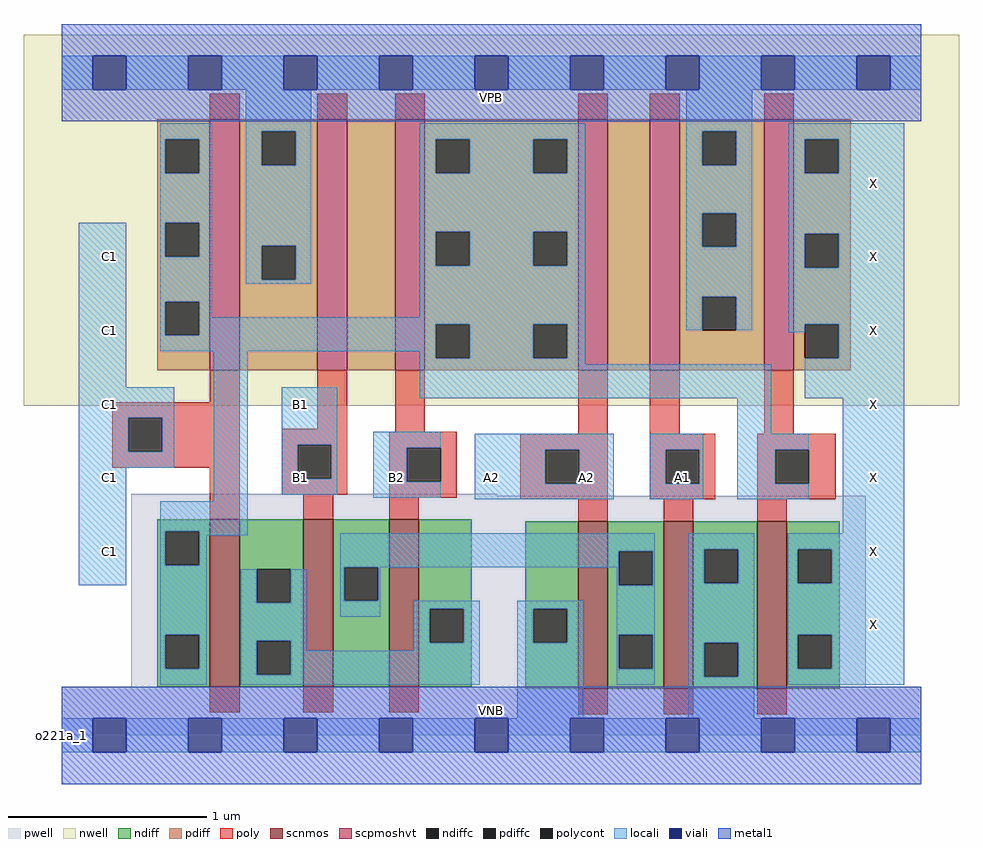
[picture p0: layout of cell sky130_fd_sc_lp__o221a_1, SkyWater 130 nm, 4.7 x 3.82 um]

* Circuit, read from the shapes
.subckt sky130_fd_sc_lp__o221a_1 A1 A2 B1 B2 C1 VGND VNB VPB VPWR X
XM1 n1 C1 n2 VNB sky130_fd_pr__nfet_01v8 w=0.84 l=0.15
XM2 n3 B1 n1 VNB sky130_fd_pr__nfet_01v8 w=0.84 l=0.15
XM3 n1 B2 n3 VNB sky130_fd_pr__nfet_01v8 w=0.84 l=0.15
XM4 n3 A2 VGND VNB sky130_fd_pr__nfet_01v8 w=0.84 l=0.15
XM5 VGND A1 n3 VNB sky130_fd_pr__nfet_01v8 w=0.84 l=0.15
XM6 X n2 VGND VNB sky130_fd_pr__nfet_01v8 w=0.84 l=0.15
XM7 VPWR C1 n2 VPB sky130_fd_pr__pfet_01v8_hvt w=1.26 l=0.15
XM8 n4 B1 VPWR VPB sky130_fd_pr__pfet_01v8_hvt w=1.26 l=0.15
XM9 n2 B2 n4 VPB sky130_fd_pr__pfet_01v8_hvt w=1.26 l=0.15
XM10 n5 A2 n2 VPB sky130_fd_pr__pfet_01v8_hvt w=1.26 l=0.15
XM11 VPWR A1 n5 VPB sky130_fd_pr__pfet_01v8_hvt w=1.26 l=0.15
XM12 X n2 VPWR VPB sky130_fd_pr__pfet_01v8_hvt w=1.26 l=0.15
.ends

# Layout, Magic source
magic
tech sky130A
magscale 1 2
<< nwell >>
rect -38 331 902 704
<< pwell >>
rect 70 241 438 243
rect 70 49 808 241
rect 0 0 864 49
<< scnmos >>
rect 149 49 179 217
rect 243 49 273 217
rect 329 49 359 217
rect 519 47 549 215
rect 605 47 635 215
rect 699 47 729 215
<< scpmoshvt >>
rect 149 367 179 619
rect 257 367 287 619
rect 335 367 365 619
rect 519 367 549 619
rect 591 367 621 619
rect 706 367 736 619
<< ndiff >>
rect 96 205 149 217
rect 96 171 104 205
rect 138 171 149 205
rect 96 101 149 171
rect 96 67 104 101
rect 138 67 149 101
rect 96 49 149 67
rect 179 167 243 217
rect 179 133 196 167
rect 230 133 243 167
rect 179 95 243 133
rect 179 61 196 95
rect 230 61 243 95
rect 179 49 243 61
rect 273 169 329 217
rect 273 135 284 169
rect 318 135 329 169
rect 273 49 329 135
rect 359 127 412 217
rect 359 93 370 127
rect 404 93 412 127
rect 359 49 412 93
rect 466 127 519 215
rect 466 93 474 127
rect 508 93 519 127
rect 466 47 519 93
rect 549 185 605 215
rect 549 151 560 185
rect 594 151 605 185
rect 549 101 605 151
rect 549 67 560 101
rect 594 67 605 101
rect 549 47 605 67
rect 635 187 699 215
rect 635 153 646 187
rect 680 153 699 187
rect 635 93 699 153
rect 635 59 646 93
rect 680 59 699 93
rect 635 47 699 59
rect 729 187 782 215
rect 729 153 740 187
rect 774 153 782 187
rect 729 101 782 153
rect 729 67 740 101
rect 774 67 782 101
rect 729 47 782 67
<< pdiff >>
rect 96 599 149 619
rect 96 565 104 599
rect 138 565 149 599
rect 96 515 149 565
rect 96 481 104 515
rect 138 481 149 515
rect 96 436 149 481
rect 96 402 104 436
rect 138 402 149 436
rect 96 367 149 402
rect 179 607 257 619
rect 179 573 201 607
rect 235 573 257 607
rect 179 492 257 573
rect 179 458 201 492
rect 235 458 257 492
rect 179 367 257 458
rect 287 367 335 619
rect 365 599 519 619
rect 365 565 376 599
rect 410 565 474 599
rect 508 565 519 599
rect 365 506 519 565
rect 365 472 376 506
rect 410 472 474 506
rect 508 472 519 506
rect 365 413 519 472
rect 365 379 376 413
rect 410 379 474 413
rect 508 379 519 413
rect 365 367 519 379
rect 549 367 591 619
rect 621 607 706 619
rect 621 573 644 607
rect 678 573 706 607
rect 621 525 706 573
rect 621 491 644 525
rect 678 491 706 525
rect 621 441 706 491
rect 621 407 644 441
rect 678 407 706 441
rect 621 367 706 407
rect 736 599 793 619
rect 736 565 747 599
rect 781 565 793 599
rect 736 504 793 565
rect 736 470 747 504
rect 781 470 793 504
rect 736 413 793 470
rect 736 379 747 413
rect 781 379 793 413
rect 736 367 793 379
<< ndiffc >>
rect 104 171 138 205
rect 104 67 138 101
rect 196 133 230 167
rect 196 61 230 95
rect 284 135 318 169
rect 370 93 404 127
rect 474 93 508 127
rect 560 151 594 185
rect 560 67 594 101
rect 646 153 680 187
rect 646 59 680 93
rect 740 153 774 187
rect 740 67 774 101
<< pdiffc >>
rect 104 565 138 599
rect 104 481 138 515
rect 104 402 138 436
rect 201 573 235 607
rect 201 458 235 492
rect 376 565 410 599
rect 474 565 508 599
rect 376 472 410 506
rect 474 472 508 506
rect 376 379 410 413
rect 474 379 508 413
rect 644 573 678 607
rect 644 491 678 525
rect 644 407 678 441
rect 747 565 781 599
rect 747 470 781 504
rect 747 379 781 413
<< poly >>
rect 149 619 179 645
rect 257 619 287 645
rect 335 619 365 645
rect 519 619 549 645
rect 591 619 621 645
rect 706 619 736 645
rect 149 335 179 367
rect 51 319 179 335
rect 51 285 67 319
rect 101 285 179 319
rect 257 308 287 367
rect 51 269 179 285
rect 149 217 179 269
rect 221 292 287 308
rect 335 305 365 367
rect 221 258 237 292
rect 271 258 287 292
rect 221 242 287 258
rect 329 289 397 305
rect 519 303 549 367
rect 329 255 347 289
rect 381 255 397 289
rect 243 217 273 242
rect 329 239 397 255
rect 461 287 549 303
rect 461 253 486 287
rect 520 253 549 287
rect 329 217 359 239
rect 461 237 549 253
rect 591 303 621 367
rect 706 303 736 367
rect 591 287 657 303
rect 591 253 607 287
rect 641 253 657 287
rect 591 237 657 253
rect 699 287 778 303
rect 699 253 717 287
rect 751 253 778 287
rect 699 237 778 253
rect 519 215 549 237
rect 605 215 635 237
rect 699 215 729 237
rect 149 23 179 49
rect 243 23 273 49
rect 329 23 359 49
rect 519 21 549 47
rect 605 21 635 47
rect 699 21 729 47
<< polycont >>
rect 67 285 101 319
rect 237 258 271 292
rect 347 255 381 289
rect 486 253 520 287
rect 607 253 641 287
rect 717 253 751 287
<< locali >>
rect 0 649 31 683
rect 65 649 127 683
rect 161 649 223 683
rect 257 649 319 683
rect 353 649 415 683
rect 449 649 511 683
rect 545 649 607 683
rect 641 649 703 683
rect 737 649 799 683
rect 833 649 864 683
rect 99 599 151 615
rect 99 565 104 599
rect 138 565 151 599
rect 99 515 151 565
rect 17 350 65 515
rect 99 481 104 515
rect 138 481 151 515
rect 99 436 151 481
rect 185 607 251 649
rect 185 573 201 607
rect 235 573 251 607
rect 185 492 251 573
rect 185 458 201 492
rect 235 458 251 492
rect 185 454 251 458
rect 360 599 526 615
rect 360 565 376 599
rect 410 565 474 599
rect 508 565 526 599
rect 360 506 526 565
rect 360 472 376 506
rect 410 472 474 506
rect 508 472 526 506
rect 99 402 104 436
rect 138 420 151 436
rect 360 420 526 472
rect 138 413 526 420
rect 138 402 376 413
rect 99 386 376 402
rect 17 319 113 350
rect 17 285 67 319
rect 101 285 113 319
rect 17 269 113 285
rect 17 151 65 269
rect 153 235 187 386
rect 360 379 376 386
rect 410 379 474 413
rect 508 379 526 413
rect 628 607 694 649
rect 628 573 644 607
rect 678 573 694 607
rect 628 525 694 573
rect 628 491 644 525
rect 678 491 694 525
rect 628 441 694 491
rect 628 407 644 441
rect 678 407 694 441
rect 731 599 847 615
rect 731 565 747 599
rect 781 565 847 599
rect 731 504 847 565
rect 731 470 747 504
rect 781 470 847 504
rect 731 413 847 470
rect 731 405 747 413
rect 360 373 526 379
rect 781 379 847 413
rect 221 292 277 350
rect 360 339 713 373
rect 747 339 847 379
rect 221 258 237 292
rect 271 258 277 292
rect 221 242 277 258
rect 313 289 381 305
rect 679 303 713 339
rect 313 255 347 289
rect 313 239 381 255
rect 415 287 555 303
rect 415 253 486 287
rect 520 253 555 287
rect 415 237 555 253
rect 591 287 645 303
rect 591 253 607 287
rect 641 253 645 287
rect 591 237 645 253
rect 679 287 751 303
rect 679 253 717 287
rect 679 237 751 253
rect 99 205 187 235
rect 99 171 104 205
rect 138 201 187 205
rect 785 203 847 339
rect 138 171 146 201
rect 99 101 146 171
rect 280 185 596 203
rect 280 169 560 185
rect 99 67 104 101
rect 138 67 146 101
rect 99 51 146 67
rect 180 133 196 167
rect 230 133 246 167
rect 180 95 246 133
rect 280 135 284 169
rect 318 135 320 169
rect 558 151 560 169
rect 594 151 596 185
rect 280 119 320 135
rect 354 127 420 135
rect 180 61 196 95
rect 230 85 246 95
rect 354 93 370 127
rect 404 93 420 127
rect 354 85 420 93
rect 230 61 420 85
rect 180 51 420 61
rect 458 127 524 135
rect 458 93 474 127
rect 508 93 524 127
rect 458 17 524 93
rect 558 101 596 151
rect 558 67 560 101
rect 594 67 596 101
rect 558 51 596 67
rect 630 187 696 203
rect 630 153 646 187
rect 680 153 696 187
rect 630 93 696 153
rect 630 59 646 93
rect 680 59 696 93
rect 630 17 696 59
rect 730 187 847 203
rect 730 153 740 187
rect 774 153 847 187
rect 730 101 847 153
rect 730 67 740 101
rect 774 67 847 101
rect 730 51 847 67
rect 0 -17 31 17
rect 65 -17 127 17
rect 161 -17 223 17
rect 257 -17 319 17
rect 353 -17 415 17
rect 449 -17 511 17
rect 545 -17 607 17
rect 641 -17 703 17
rect 737 -17 799 17
rect 833 -17 864 17
<< viali >>
rect 31 649 65 683
rect 127 649 161 683
rect 223 649 257 683
rect 319 649 353 683
rect 415 649 449 683
rect 511 649 545 683
rect 607 649 641 683
rect 703 649 737 683
rect 799 649 833 683
rect 31 -17 65 17
rect 127 -17 161 17
rect 223 -17 257 17
rect 319 -17 353 17
rect 415 -17 449 17
rect 511 -17 545 17
rect 607 -17 641 17
rect 703 -17 737 17
rect 799 -17 833 17
<< metal1 >>
rect 0 683 864 715
rect 0 649 31 683
rect 65 649 127 683
rect 161 649 223 683
rect 257 649 319 683
rect 353 649 415 683
rect 449 649 511 683
rect 545 649 607 683
rect 641 649 703 683
rect 737 649 799 683
rect 833 649 864 683
rect 0 617 864 649
rect 0 17 864 49
rect 0 -17 31 17
rect 65 -17 127 17
rect 161 -17 223 17
rect 257 -17 319 17
rect 353 -17 415 17
rect 449 -17 511 17
rect 545 -17 607 17
rect 641 -17 703 17
rect 737 -17 799 17
rect 833 -17 864 17
rect 0 -49 864 -17
<< labels >>
flabel pwell s 0 0 864 49 0 FreeSans 200 0 0 0 VNB
port 7 nsew ground bidirectional
flabel nwell s 0 617 864 666 0 FreeSans 200 0 0 0 VPB
port 8 nsew power bidirectional
rlabel comment s 0 0 0 0 4 o221a_1
flabel metal1 s 0 617 864 666 0 FreeSans 340 0 0 0 VPWR
port 9 nsew power bidirectional
flabel metal1 s 0 0 864 49 0 FreeSans 340 0 0 0 VGND
port 6 nsew ground bidirectional
flabel locali s 607 242 641 276 0 FreeSans 340 0 0 0 A1
port 1 nsew signal input
flabel locali s 223 242 257 276 0 FreeSans 340 0 0 0 B1
port 3 nsew signal input
flabel locali s 223 316 257 350 0 FreeSans 340 0 0 0 B1
port 3 nsew signal input
flabel locali s 319 242 353 276 0 FreeSans 340 0 0 0 B2
port 4 nsew signal input
flabel locali s 31 316 65 350 0 FreeSans 340 0 0 0 C1
port 5 nsew signal input
flabel locali s 415 242 449 276 0 FreeSans 340 0 0 0 A2
port 2 nsew signal input
flabel locali s 511 242 545 276 0 FreeSans 340 0 0 0 A2
port 2 nsew signal input
flabel locali s 799 94 833 128 0 FreeSans 340 0 0 0 X
port 10 nsew signal output
flabel locali s 799 168 833 202 0 FreeSans 340 0 0 0 X
port 10 nsew signal output
flabel locali s 799 242 833 276 0 FreeSans 340 0 0 0 X
port 10 nsew signal output
flabel locali s 799 316 833 350 0 FreeSans 340 0 0 0 X
port 10 nsew signal output
flabel locali s 799 390 833 424 0 FreeSans 340 0 0 0 X
port 10 nsew signal output
flabel locali s 799 464 833 498 0 FreeSans 340 0 0 0 X
port 10 nsew signal output
flabel locali s 799 538 833 572 0 FreeSans 340 0 0 0 X
port 10 nsew signal output
flabel locali s 31 168 65 202 0 FreeSans 340 0 0 0 C1
port 5 nsew signal input
flabel locali s 31 242 65 276 0 FreeSans 340 0 0 0 C1
port 5 nsew signal input
flabel locali s 31 464 65 498 0 FreeSans 340 0 0 0 C1
port 5 nsew signal input
flabel locali s 31 390 65 424 0 FreeSans 340 0 0 0 C1
port 5 nsew signal input
<< properties >>
string LEFsite unit
string LEFclass CORE
string FIXED_BBOX 0 0 864 666
string GDS_FILE $PDKPATH/libs.ref/sky130_fd_sc_lp/gds/sky130_fd_sc_lp.gds
string LEFsymmetry X Y R90
string GDS_END 4810038
string GDS_START 4801084
<< end >>
